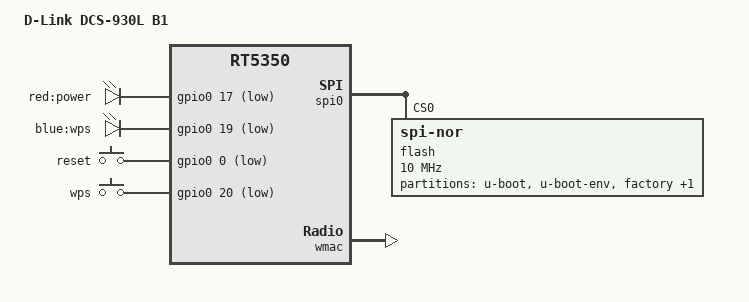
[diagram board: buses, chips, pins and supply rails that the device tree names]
#include "rt5350.dtsi"

#include <dt-bindings/gpio/gpio.h>
#include <dt-bindings/input/input.h>

/ {
	compatible = "dlink,dcs-930l-b1", "ralink,rt5350-soc";
	model = "D-Link DCS-930L B1";

	aliases {
		led-boot = &led_power;
		led-failsafe = &led_power;
		led-running = &led_power;
		led-upgrade = &led_power;
	};

	leds {
		compatible = "gpio-leds";

		led_power: power {
			label = "red:power";
			gpios = <&gpio0 17 GPIO_ACTIVE_LOW>;
		};

		wps {
			label = "blue:wps";
			gpios = <&gpio0 19 GPIO_ACTIVE_LOW>;
		};
	};

	keys {
		compatible = "gpio-keys-polled";
		poll-interval = <20>;

		reset {
			label = "reset";
			gpios = <&gpio0 0 GPIO_ACTIVE_LOW>;
			linux,code = <KEY_RESTART>;
		};

		wps {
			label = "wps";
			gpios = <&gpio0 20 GPIO_ACTIVE_LOW>;
			linux,code = <KEY_WPS_BUTTON>;
		};
	};
};

&spi0 {
	status = "okay";

	flash@0 {
		compatible = "jedec,spi-nor";
		reg = <0>;
		spi-max-frequency = <10000000>;

		partitions {
			compatible = "fixed-partitions";
			#address-cells = <1>;
			#size-cells = <1>;

			partition@0 {
				label = "u-boot";
				reg = <0x0 0x30000>;
				read-only;
			};

			partition@30000 {
				label = "u-boot-env";
				reg = <0x30000 0x10000>;
				read-only;
			};

			factory: partition@40000 {
				label = "factory";
				reg = <0x40000 0x10000>;
				read-only;
			};

			partition@50000 {
				compatible = "denx,uimage";
				label = "firmware";
				reg = <0x50000 0x3b0000>;
			};
		};
	};
};

&state_default {
	gpio {
		groups = "i2c", "jtag", "uartf", "led";
		function = "gpio";
	};
};

&ethernet {
	nvmem-cells = <&macaddr_factory_4>;
	nvmem-cell-names = "mac-address";
};

&esw {
	mediatek,portmap = <0x2f>;
};

&wmac {
	ralink,mtd-eeprom = <&factory 0x0>;
};

&factory {
	compatible = "nvmem-cells";
	#address-cells = <1>;
	#size-cells = <1>;

	macaddr_factory_4: macaddr@4 {
		reg = <0x4 0x6>;
	};
};
